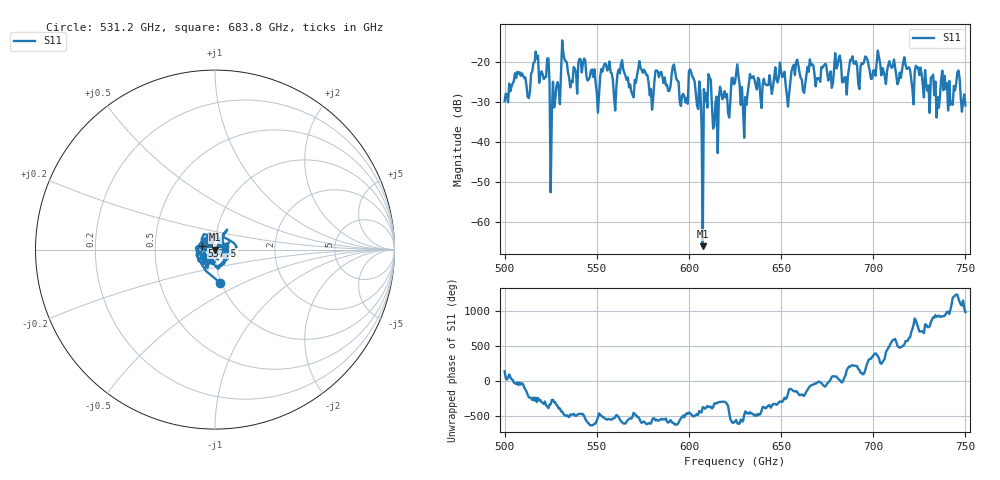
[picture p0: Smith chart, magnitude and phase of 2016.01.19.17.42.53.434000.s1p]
!Created with skrf (http://scikit-rf.org).
# GHz S RI R 50.0
!freq ReS11 ImS11
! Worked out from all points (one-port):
!   401 points, 500 GHz to 750 GHz, reference 50 ohm
!   lowest |S11| = -66.2 dB at 607.5 GHz (marker M1), VSWR 1.00, Z = 50 - j0.0159 ohm
!   |S11| at or under -10 dB: start of sweep to end of sweep
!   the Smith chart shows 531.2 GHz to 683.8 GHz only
!   S11 on the Smith chart (normalised r, x): 531.2 GHz: 0.99, -0.38; 557.5 GHz: 0.87, +0.04; 683.8 GHz: 1.12, +0.01
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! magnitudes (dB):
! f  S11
! 500 GHz  -29.7
! 506.9 GHz  -22.4
! 513.1 GHz  -29.0
! 516.9 GHz  -17.3
! 523.1 GHz  -19.0
! 526.2 GHz  -24.9
! 531.2 GHz  -14.5
! 550.6 GHz  -32.7
! 557.5 GHz  -22.5
! 560 GHz  -32.1
! 562.5 GHz  -22.8
! 568.8 GHz  -27.4
! 573.8 GHz  -21.4
! 579.4 GHz  -26.7
! 593.8 GHz  -24.7
! 598.1 GHz  -30.1
! 601.9 GHz  -23.6
! 607.5 GHz  -66.2
! 610.6 GHz  -23.0
! 614.4 GHz  -30.2
! 625 GHz  -25.1
! 630.6 GHz  -28.7
! 633.8 GHz  -24.0
! 656.2 GHz  -21.2
! 683.8 GHz  -25.0
! 687.5 GHz  -19.4
! 718.8 GHz  -21.5
! 750 GHz  -30.8
